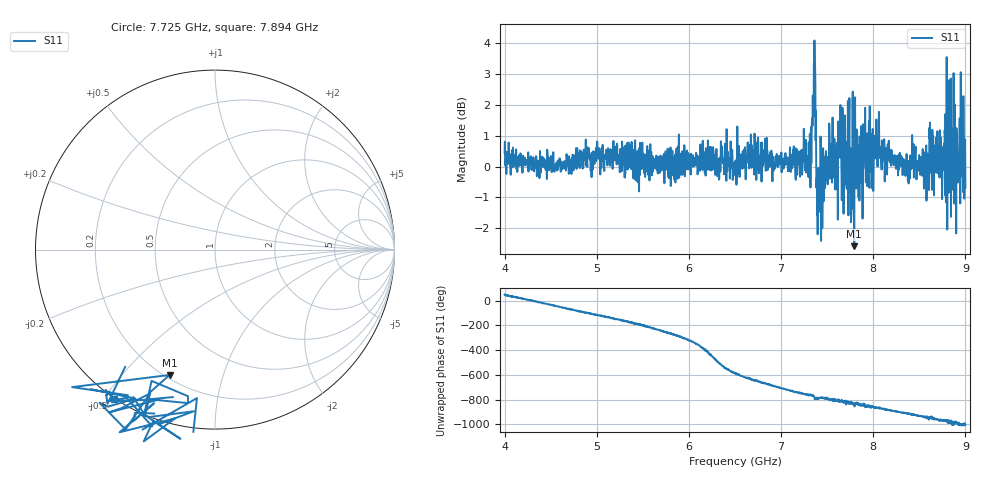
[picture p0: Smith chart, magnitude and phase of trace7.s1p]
! Created with skrf 1.8.0 (http://scikit-rf.org).
# Hz S RI R 50.0
!freq ReS11 ImS11
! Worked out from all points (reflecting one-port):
!   1601 points, 4 GHz to 9 GHz, reference 50 ohm
!   lowest |S11| = -2.6 dB at 7.794 GHz (marker M1), VSWR 6.77, Z = 10.9 - j33.9 ohm
!   phase of S11 starts at 50 deg and turns -1054 deg over the sweep
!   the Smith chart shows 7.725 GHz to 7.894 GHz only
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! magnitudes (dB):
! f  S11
! 4 GHz  0.4
! 4.625 GHz  -0.1
! 5.003 GHz  0.8
! 5.25 GHz  -0.2
! 5.875 GHz  0.2
! 6.409 GHz  1.2
! 6.5 GHz  -0.1
! 6.65 GHz  0.5
! 7.125 GHz  0.2
! 7.294 GHz  -0.3
! 7.356 GHz  3.3
! 7.409 GHz  -0.3
! 7.538 GHz  0.7
! 7.591 GHz  0.6
! 7.647 GHz  0.9
! 7.75 GHz  0.2
! 7.769 GHz  -0.8
! 7.794 GHz  -2.6
! 8.05 GHz  0.8
! 8.375 GHz  -0.5
! 8.441 GHz  -0.4
! 8.581 GHz  0.3
! 8.631 GHz  0.3
! 8.766 GHz  0.4
! 8.816 GHz  1.0
! 8.906 GHz  0.4
! 8.959 GHz  2.1
! 9 GHz  -0.7
